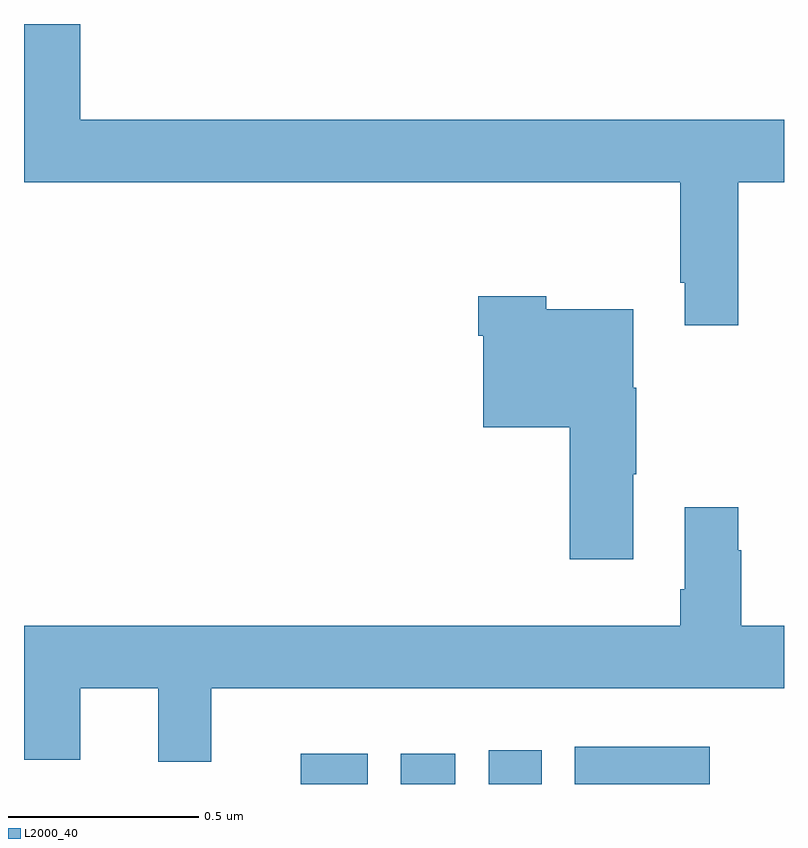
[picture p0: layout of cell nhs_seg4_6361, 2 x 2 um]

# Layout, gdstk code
import gdstk
lib = gdstk.Library(unit=1e-6, precision=1e-09)
def R(c, l, rs):  # rectangles x0, y0, x1, y1
    for r in rs: c.add(gdstk.rectangle(r[:2], r[2:], *l))
def P(c, l, *ps):  # polygons
    for p in ps: c.add(gdstk.Polygon(p, *l))
L2000_40 = (2000, 40)

nhs_seg4_6361 = lib.new_cell('nhs_seg4_6361')
R(nhs_seg4_6361, L2000_40, [(189.728,797.9,189.904,797.98), (189.992,797.9,190.135,797.98), (190.223,797.9,190.363,797.989), (190.449,797.9,190.805,797.998)])
P(nhs_seg4_6361, L2000_40, [(190.879,799.484),(191,799.484),(191,799.648),(189.148,799.648),(189.148,799.9),(189,799.9),(189,799.484),(190.727,799.484),(190.727,799.219),(190.739,799.219),(190.739,799.107),(190.879,799.107)],
  [(190.603,798.715),(190.611,798.715),(190.611,798.943),(190.603,798.943),(190.603,799.15),(190.374,799.15),(190.374,799.183),(190.196,799.183),(190.196,799.079),(190.208,799.079),(190.208,798.839),(190.436,798.839),(190.436,798.492),(190.603,798.492)],
  [(191,798.316),(190.887,798.316),(190.887,798.515),(190.879,798.515),(190.879,798.628),(190.739,798.628),(190.739,798.412),(190.727,798.412),(190.727,798.316),(189,798.316),(189,797.964),(189.148,797.964),(189.148,798.152),(189.353,798.152),(189.353,797.958),(189.493,797.958),(189.493,798.152),(191,798.152)])

lib.write_gds('nhs_seg4_6361.gds')
